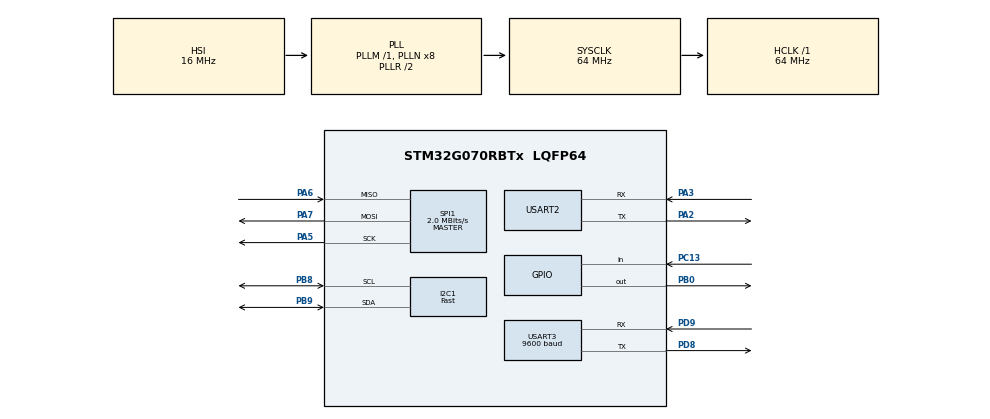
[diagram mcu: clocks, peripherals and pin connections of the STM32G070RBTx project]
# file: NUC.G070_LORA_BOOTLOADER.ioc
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CRC.InputDataFormat=CRC_INPUTDATA_FORMAT_WORDS
Dma.Request0=USART3_RX
Dma.USART3_RX.0.Direction=DMA_PERIPH_TO_MEMORY
Dma.USART3_RX.0.EventEnable=DISABLE
Dma.USART3_RX.0.Instance=DMA1_Channel1
Dma.USART3_RX.0.MemDataAlignment=DMA_MDATAALIGN_BYTE
Dma.USART3_RX.0.MemInc=DMA_MINC_ENABLE
Dma.USART3_RX.0.Mode=DMA_NORMAL
Dma.USART3_RX.0.PeriphDataAlignment=DMA_PDATAALIGN_BYTE
Dma.USART3_RX.0.PeriphInc=DMA_PINC_DISABLE
Dma.USART3_RX.0.Polarity=HAL_DMAMUX_REQ_GEN_RISING
Dma.USART3_RX.0.Priority=DMA_PRIORITY_LOW
Dma.USART3_RX.0.RequestNumber=1
Dma.USART3_RX.0.SignalID=NONE
Dma.USART3_RX.0.SyncEnable=DISABLE
Dma.USART3_RX.0.SyncPolarity=HAL_DMAMUX_SYNC_NO_EVENT
Dma.USART3_RX.0.SyncRequestNumber=1
Dma.USART3_RX.0.SyncSignalID=NONE
I2C1.I2C_Speed_Mode=I2C_Fast
I2C1.Timing=0x00C12166
Mcu.Family=STM32G0
Mcu.Name=STM32G070RBTx
Mcu.Package=LQFP64
NVIC.DMA1_Channel1_IRQn=true\:0\:0\:false\:false\:true\:false\:true\:true
NVIC.FLASH_IRQn=true\:1\:0\:true\:false\:true\:true\:true\:true
NVIC.USART3_4_IRQn=true\:0\:0\:false\:false\:true\:true\:true\:true
PA13.GPIO_Label=TMS
PA13.Mode=Serial_Wire
PA13.Signal=SYS_SWDIO
PA14-BOOT0.GPIO_Label=TCK
PA14-BOOT0.Mode=Serial_Wire
PA14-BOOT0.Signal=SYS_SWCLK
PA2.GPIO_PuPd=GPIO_PULLUP
PA2.Mode=Asynchronous
PA2.Signal=USART2_TX
PA3.GPIO_PuPd=GPIO_PULLUP
PA3.Mode=Asynchronous
PA3.Signal=USART2_RX
PA5.Mode=Full_Duplex_Master
PA5.Signal=SPI1_SCK
PA6.Mode=Full_Duplex_Master
PA6.Signal=SPI1_MISO
PA7.Mode=Full_Duplex_Master
PA7.Signal=SPI1_MOSI
PB0.GPIO_Speed=GPIO_SPEED_FREQ_VERY_HIGH
PB0.PinState=GPIO_PIN_SET
PB0.Signal=GPIO_Output
PB8.Mode=I2C
PB8.Signal=I2C1_SCL
PB9.Mode=I2C
PB9.Signal=I2C1_SDA
PC13.Signal=GPIO_Input
PC14-OSC32_IN\ (PC14).Mode=LSE-External-Oscillator
PC14-OSC32_IN\ (PC14).Signal=RCC_OSC32_IN
PC15-OSC32_OUT\ (PC15).Mode=LSE-External-Oscillator
PC15-OSC32_OUT\ (PC15).Signal=RCC_OSC32_OUT
PD8.Mode=Asynchronous
PD8.Signal=USART3_TX
PD9.Mode=Asynchronous
PD9.Signal=USART3_RX
PF0-OSC_IN\ (PF0).GPIO_Label=MCO
PF0-OSC_IN\ (PF0).Mode=HSE-External-Clock-Source
PF0-OSC_IN\ (PF0).Signal=RCC_OSC_IN
ProjectManager.HeapSize=0x200
ProjectManager.StackSize=0x400
ProjectManager.TargetToolchain=STM32CubeIDE
RCC.ADCFreq_Value=64000000
RCC.AHBFreq_Value=64000000
RCC.CortexFreq_Value=64000000
RCC.EXTERNAL_CLOCK_VALUE=12288000
RCC.HCLKFreq_Value=64000000
RCC.HSE_VALUE=8000000
RCC.HSI_VALUE=16000000
RCC.SYSCLKFreq_VALUE=64000000
RCC.SYSCLKSource=RCC_SYSCLKSOURCE_PLLCLK
RCC.VCOOutputFreq_Value=128000000
SPI1.BaudRatePrescaler=SPI_BAUDRATEPRESCALER_32
SPI1.CalculateBaudRate=2.0 MBits/s
SPI1.DataSize=SPI_DATASIZE_8BIT
SPI1.Direction=SPI_DIRECTION_2LINES
SPI1.Mode=SPI_MODE_MASTER
SPI1.VirtualType=VM_MASTER
USART2.VirtualMode-Asynchronous=VM_ASYNC
USART2.WordLength=WORDLENGTH_7B
USART3.BaudRate=9600
USART3.VirtualMode-Asynchronous=VM_ASYNC
VP_CRC_VS_CRC.Mode=CRC_Activate
board=NUCLEO-G070RB

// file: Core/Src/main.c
/* USER CODE BEGIN Header */
/**
  ******************************************************************************
  * @file           : main.c
  * @brief          : Main program body
  ******************************************************************************
  * @attention
  *
  * Copyright (c) 2023 STMicroelectronics.
  * All rights reserved.
  *
  * This software is licensed under terms that can be found in the LICENSE file
  * in the root directory of this software component.
  * If no LICENSE file comes with this software, it is provided AS-IS.
  *
  ******************************************************************************
  */
/* USER CODE END Header */
#include "main.h"

/* USER CODE BEGIN Includes */
#include "bootloader_command_app.h"
#include "stdarg.h"
#include "stdio.h"
#include "string.h"
#include "ssd1306.h"
#include "fonts.h"
#include "W25Qxx.h"
/* USER CODE END Includes */

CRC_HandleTypeDef hcrc;

I2C_HandleTypeDef hi2c1;

SPI_HandleTypeDef hspi1;

UART_HandleTypeDef huart2;
UART_HandleTypeDef huart3;
DMA_HandleTypeDef hdma_usart3_rx;

/* USER CODE BEGIN PV */
uint8_t bootloader_rx_data[BL_RX_DATA_LENGTH];
uint8_t Bootloader_Main_Buf[2000]={'\0'};
uint8_t Boot_Receive_Flag=0;

/* USER CODE END PV */

void SystemClock_Config(void);
static void MX_GPIO_Init(void);
static void MX_DMA_Init(void);
static void MX_USART2_UART_Init(void);
static void MX_CRC_Init(void);
static void MX_I2C1_Init(void);
static void MX_USART3_UART_Init(void);
static void MX_SPI1_Init(void);
/* USER CODE BEGIN PFP */
void restart_RxDMA(void);
void printMessage(char *format, ...);
void bootloader_jump_to_user_application(void);

/* USER CODE END PFP */

/* USER CODE BEGIN 0 */

void HAL_UARTEx_RxEventCallback(UART_HandleTypeDef *huart, uint16_t Size)
{
	if(huart->Instance == USART3)
	{
		Boot_Receive_Flag =1;
		memcpy(Bootloader_Main_Buf, bootloader_rx_data,Size);

	}
}
/* USER CODE END 0 */

int main(void)
{

  /* MCU Configuration--------------------------------------------------------*/

  /* Reset of all peripherals, Initializes the Flash interface and the Systick. */
  HAL_Init();

  /* Configure the system clock */
  SystemClock_Config();

  /* Initialize all configured peripherals */
  MX_GPIO_Init();
  MX_DMA_Init();
  MX_USART2_UART_Init();
  MX_CRC_Init();
  MX_I2C1_Init();
  MX_USART3_UART_Init();
  MX_SPI1_Init();
  /* USER CODE BEGIN 2 */
  SSD1306_Init();
  restart_RxDMA();
  //W25Q_Chip_Erase();
  /* USER CODE END 2 */

  /* Infinite loop */
  /* USER CODE BEGIN WHILE */
  while (1)
  {
		printMessage("Bootloader");
	  if(Boot_Receive_Flag==1){
		switch (bootloader_rx_data[1]) {
		case BL_GET_VER:/*TAMAMEN CALISIYOR*/
			bootloader_get_ver_cmd(bootloader_rx_data);
			restart_RxDMA();
			Boot_Receive_Flag=0;
			break;
		case BL_GET_HELP:/*TAMAMEN CALISIYOR*/
			bootloader_get_help_cmd(bootloader_rx_data);
			restart_RxDMA();
			Boot_Receive_Flag=0;
			break;
		case BL_GET_CID:/*TAMAMEN CALISIYOR */
			bootloader_get_cid_cmd(bootloader_rx_data); //calıisiyor
			restart_RxDMA();
			Boot_Receive_Flag=0;
			break;
		case BL_GET_RDP_STATUS:/*TAMAMEN CALISIYOR*/
			bootloader_get_rdp_cmd(bootloader_rx_data);// calısiyor
			restart_RxDMA();
			Boot_Receive_Flag=0;
			break;
		case BL_GO_TO_ADDR:/*TAMAMEN CALISIYOR*/
			bootloader_go_to_addr_cmd(bootloader_rx_data);// calısiyor
			restart_RxDMA();
			Boot_Receive_Flag=0;
			break;
			/*	Once page sonra ondan sonraki kaç tane page silincek ise o girilecek  */
		case BL_FLASH_ERASE:/*TAMAMEN CALISIYOR*/
			bootloader_flash_erase_cmd(bootloader_rx_data);
			restart_RxDMA();
			Boot_Receive_Flag=0;
			break;
			/*	Yazma yapılmadan önce kullanılacak pageler flash erase yapılmalı*/
		case BL_MEM_WRITE:/*TAMAMEN CALISIYOR*/
			bootloader_mem_write_cmd(bootloader_rx_data);
			restart_RxDMA();
			Boot_Receive_Flag=0;
			break;
		case BL_EN_RW_PROTECT:
			bootloader_enable_read_write_protect_cmd(bootloader_rx_data);
			restart_RxDMA();
			Boot_Receive_Flag=0;
			break;
		case BL_DIS_R_W_PROTECT:
			bootloader_disable_read_write_protect_cmd(bootloader_rx_data);
			restart_RxDMA();
			Boot_Receive_Flag=0;
			break;
		case BL_GO_TO_BOOTLOADER:
			bootloader_go_to_bootloader_cmd(bootloader_rx_data);
			restart_RxDMA();
			Boot_Receive_Flag=0;
			break;
		case BL_EXT_MEM_WRITE:
			bootloader_ext_mem_write_cmd(bootloader_rx_data);
			restart_RxDMA();
			Boot_Receive_Flag=0;
			break;
		case BL_EXT_MEM_TO_MEM_WRITE:
			bootloader_ext_mem_to_mem_write_cmd(bootloader_rx_data);
			restart_RxDMA();
			Boot_Receive_Flag=0;
			break;
			default:
			break;
		}
		memset(bootloader_rx_data, '\0',200);

	  }
	  else{}

		if (HAL_GPIO_ReadPin(GPIOC, GPIO_PIN_13) == GPIO_PIN_SET) {//bunu direk Set olarak yaptım
		  														   //tuş basılı değilse bootloaderda kalacak
		  		printMessage(" Going to bootloader mode.\n");

		  	} else {
		  		printMessage(" Executing user application.\n");

		  		bootloader_jump_to_user_application();
		  	}
		printMessage("Working");

    /* USER CODE END WHILE */

  }
}

void SystemClock_Config(void)
{
  RCC_OscInitTypeDef RCC_OscInitStruct = {0};
  RCC_ClkInitTypeDef RCC_ClkInitStruct = {0};

  /** Configure the main internal regulator output voltage
  */
  HAL_PWREx_ControlVoltageScaling(PWR_REGULATOR_VOLTAGE_SCALE1);

  /** Initializes the RCC Oscillators according to the specified parameters
  * in the RCC_OscInitTypeDef structure.
  */
  RCC_OscInitStruct.OscillatorType = RCC_OSCILLATORTYPE_HSI;
  RCC_OscInitStruct.HSIState = RCC_HSI_ON;
  RCC_OscInitStruct.HSIDiv = RCC_HSI_DIV1;
  RCC_OscInitStruct.HSICalibrationValue = RCC_HSICALIBRATION_DEFAULT;
  RCC_OscInitStruct.PLL.PLLState = RCC_PLL_ON;
  RCC_OscInitStruct.PLL.PLLSource = RCC_PLLSOURCE_HSI;
  RCC_OscInitStruct.PLL.PLLM = RCC_PLLM_DIV1;
  RCC_OscInitStruct.PLL.PLLN = 8;
  RCC_OscInitStruct.PLL.PLLP = RCC_PLLP_DIV2;
  RCC_OscInitStruct.PLL.PLLR = RCC_PLLR_DIV2;
  if (HAL_RCC_OscConfig(&RCC_OscInitStruct) != HAL_OK)
  {
    Error_Handler();
  }

  /** Initializes the CPU, AHB and APB buses clocks
  */
  RCC_ClkInitStruct.ClockType = RCC_CLOCKTYPE_HCLK|RCC_CLOCKTYPE_SYSCLK
                              |RCC_CLOCKTYPE_PCLK1;
  RCC_ClkInitStruct.SYSCLKSource = RCC_SYSCLKSOURCE_PLLCLK;
  RCC_ClkInitStruct.AHBCLKDivider = RCC_SYSCLK_DIV1;
  RCC_ClkInitStruct.APB1CLKDivider = RCC_HCLK_DIV1;

  if (HAL_RCC_ClockConfig(&RCC_ClkInitStruct, FLASH_LATENCY_2) != HAL_OK)
  {
    Error_Handler();
  }
}

static void MX_CRC_Init(void)
{

  hcrc.Instance = CRC;
  hcrc.Init.DefaultPolynomialUse = DEFAULT_POLYNOMIAL_ENABLE;
  hcrc.Init.DefaultInitValueUse = DEFAULT_INIT_VALUE_ENABLE;
  hcrc.Init.InputDataInversionMode = CRC_INPUTDATA_INVERSION_NONE;
  hcrc.Init.OutputDataInversionMode = CRC_OUTPUTDATA_INVERSION_DISABLE;
  hcrc.InputDataFormat = CRC_INPUTDATA_FORMAT_WORDS;
  if (HAL_CRC_Init(&hcrc) != HAL_OK)
  {
    Error_Handler();
  }

}

static void MX_I2C1_Init(void)
{

  hi2c1.Instance = I2C1;
  hi2c1.Init.Timing = 0x00C12166;
  hi2c1.Init.OwnAddress1 = 0;
  hi2c1.Init.AddressingMode = I2C_ADDRESSINGMODE_7BIT;
  hi2c1.Init.DualAddressMode = I2C_DUALADDRESS_DISABLE;
  hi2c1.Init.OwnAddress2 = 0;
  hi2c1.Init.OwnAddress2Masks = I2C_OA2_NOMASK;
  hi2c1.Init.GeneralCallMode = I2C_GENERALCALL_DISABLE;
  hi2c1.Init.NoStretchMode = I2C_NOSTRETCH_DISABLE;
  if (HAL_I2C_Init(&hi2c1) != HAL_OK)
  {
    Error_Handler();
  }

  /** Configure Analogue filter
  */
  if (HAL_I2CEx_ConfigAnalogFilter(&hi2c1, I2C_ANALOGFILTER_ENABLE) != HAL_OK)
  {
    Error_Handler();
  }

  /** Configure Digital filter
  */
  if (HAL_I2CEx_ConfigDigitalFilter(&hi2c1, 0) != HAL_OK)
  {
    Error_Handler();
  }

}

static void MX_SPI1_Init(void)
{

  /* SPI1 parameter configuration*/
  hspi1.Instance = SPI1;
  hspi1.Init.Mode = SPI_MODE_MASTER;
  hspi1.Init.Direction = SPI_DIRECTION_2LINES;
  hspi1.Init.DataSize = SPI_DATASIZE_8BIT;
  hspi1.Init.CLKPolarity = SPI_POLARITY_LOW;
  hspi1.Init.CLKPhase = SPI_PHASE_1EDGE;
  hspi1.Init.NSS = SPI_NSS_SOFT;
  hspi1.Init.BaudRatePrescaler = SPI_BAUDRATEPRESCALER_32;
  hspi1.Init.FirstBit = SPI_FIRSTBIT_MSB;
  hspi1.Init.TIMode = SPI_TIMODE_DISABLE;
  hspi1.Init.CRCCalculation = SPI_CRCCALCULATION_DISABLE;
  hspi1.Init.CRCPolynomial = 7;
  hspi1.Init.CRCLength = SPI_CRC_LENGTH_DATASIZE;
  hspi1.Init.NSSPMode = SPI_NSS_PULSE_ENABLE;
  if (HAL_SPI_Init(&hspi1) != HAL_OK)
  {
    Error_Handler();
  }

}

static void MX_USART2_UART_Init(void)
{

  huart2.Instance = USART2;
  huart2.Init.BaudRate = 115200;
  huart2.Init.WordLength = UART_WORDLENGTH_7B;
  huart2.Init.StopBits = UART_STOPBITS_1;
  huart2.Init.Parity = UART_PARITY_NONE;
  huart2.Init.Mode = UART_MODE_TX_RX;
  huart2.Init.HwFlowCtl = UART_HWCONTROL_NONE;
  huart2.Init.OverSampling = UART_OVERSAMPLING_16;
  huart2.Init.OneBitSampling = UART_ONE_BIT_SAMPLE_DISABLE;
  huart2.Init.ClockPrescaler = UART_PRESCALER_DIV1;
  huart2.AdvancedInit.AdvFeatureInit = UART_ADVFEATURE_NO_INIT;
  if (HAL_UART_Init(&huart2) != HAL_OK)
  {
    Error_Handler();
  }
  if (HAL_UARTEx_SetTxFifoThreshold(&huart2, UART_TXFIFO_THRESHOLD_1_8) != HAL_OK)
  {
    Error_Handler();
  }
  if (HAL_UARTEx_SetRxFifoThreshold(&huart2, UART_RXFIFO_THRESHOLD_1_8) != HAL_OK)
  {
    Error_Handler();
  }
  if (HAL_UARTEx_DisableFifoMode(&huart2) != HAL_OK)
  {
    Error_Handler();
  }

}

static void MX_USART3_UART_Init(void)
{

  huart3.Instance = USART3;
  huart3.Init.BaudRate = 9600;
  huart3.Init.WordLength = UART_WORDLENGTH_8B;
  huart3.Init.StopBits = UART_STOPBITS_1;
  huart3.Init.Parity = UART_PARITY_NONE;
  huart3.Init.Mode = UART_MODE_TX_RX;
  huart3.Init.HwFlowCtl = UART_HWCONTROL_NONE;
  huart3.Init.OverSampling = UART_OVERSAMPLING_16;
  huart3.Init.OneBitSampling = UART_ONE_BIT_SAMPLE_DISABLE;
  huart3.Init.ClockPrescaler = UART_PRESCALER_DIV1;
  huart3.AdvancedInit.AdvFeatureInit = UART_ADVFEATURE_NO_INIT;
  if (HAL_UART_Init(&huart3) != HAL_OK)
  {
    Error_Handler();
  }

}

static void MX_DMA_Init(void)
{

  /* DMA controller clock enable */
  __HAL_RCC_DMA1_CLK_ENABLE();

  /* DMA interrupt init */
  /* DMA1_Channel1_IRQn interrupt configuration */
  HAL_NVIC_SetPriority(DMA1_Channel1_IRQn, 0, 0);
  HAL_NVIC_EnableIRQ(DMA1_Channel1_IRQn);

}

static void MX_GPIO_Init(void)
{
  GPIO_InitTypeDef GPIO_InitStruct = {0};

  /* GPIO Ports Clock Enable */
  __HAL_RCC_GPIOC_CLK_ENABLE();
  __HAL_RCC_GPIOF_CLK_ENABLE();
  __HAL_RCC_GPIOA_CLK_ENABLE();
  __HAL_RCC_GPIOB_CLK_ENABLE();
  __HAL_RCC_GPIOD_CLK_ENABLE();

  /*Configure GPIO pin Output Level */
  HAL_GPIO_WritePin(GPIOB, GPIO_PIN_0, GPIO_PIN_SET);

  /*Configure GPIO pin : PC13 */
  GPIO_InitStruct.Pin = GPIO_PIN_13;
  GPIO_InitStruct.Mode = GPIO_MODE_INPUT;
  GPIO_InitStruct.Pull = GPIO_NOPULL;
  HAL_GPIO_Init(GPIOC, &GPIO_InitStruct);

  /*Configure GPIO pin : PB0 */
  GPIO_InitStruct.Pin = GPIO_PIN_0;
  GPIO_InitStruct.Mode = GPIO_MODE_OUTPUT_PP;
  GPIO_InitStruct.Pull = GPIO_NOPULL;
  GPIO_InitStruct.Speed = GPIO_SPEED_FREQ_VERY_HIGH;
  HAL_GPIO_Init(GPIOB, &GPIO_InitStruct);

}

/* USER CODE BEGIN 4 */

void restart_RxDMA(void)
{
	HAL_UARTEx_ReceiveToIdle_DMA(&huart3, bootloader_rx_data, BL_RX_DATA_LENGTH);
	__HAL_DMA_DISABLE_IT(&hdma_usart3_rx, DMA_IT_HT);
}
void printMessage(char *format, ...) {
	char comingMessage[100] = { 0 };
	va_list vaList;
	va_start(vaList, format);
	vsprintf(comingMessage, format, vaList);
	SSD1306_GotoXY(0, 0);
	SSD1306_Puts(comingMessage, &Font_7x10, 1);
	SSD1306_UpdateScreen(); //display
	va_end(vaList);
}

void bootloader_jump_to_user_application(void) {
	//  Kesmeleri kapa
	/*__disable_irq();// __disable_irq deyince hal_delay çalışmıyor unutma !!!!!*/

	printMessage("bootloader_jump_to_user_application() \n");

	//  MSP'nin değerini tut
	uint32_t mspValue = *(volatile uint32_t*) FLASH_APP_BASE_ADDRESS;
	printMessage("MSP Value: %#x \n", mspValue);

	// Sıfırlama işleyicisinin değerini tut
	uint32_t resetValue = *(volatile uint32_t*) (FLASH_APP_BASE_ADDRESS + 4);
	printMessage("Reset Value: %#x \n", resetValue);

	//  Periferleri sıfırla ve devre dışı bırak

	SCB->VTOR = FLASH_APP_BASE_ADDRESS;
	//__set_MSP(mspValue);	// Bu fonksiyon F407 De calisiyordu ama
	//L053 de çalışmıyor
	SysTick->CTRL = 0;
	SysTick->LOAD = 0;
	SysTick->VAL = 0;
	HAL_I2C_DeInit(&hi2c1);
	HAL_UART_MspDeInit(&huart3);
	HAL_GPIO_DeInit(GPIOC, GPIO_PIN_13);
	HAL_UART_MspDeInit(&huart2);
	HAL_DMA_DeInit(&hdma_usart3_rx);
	HAL_CRC_DeInit(&hcrc);
	HAL_RCC_DeInit();

	HAL_DeInit();
	resetValue = *((volatile uint32_t*) (FLASH_APP_BASE_ADDRESS + 4));
	void (*jump_to_app)(void) = (void *)resetValue;
	jump_to_app();

}

/* USER CODE END 4 */

void Error_Handler(void)
{
  __disable_irq();
  while (1)
  {
  }
}
